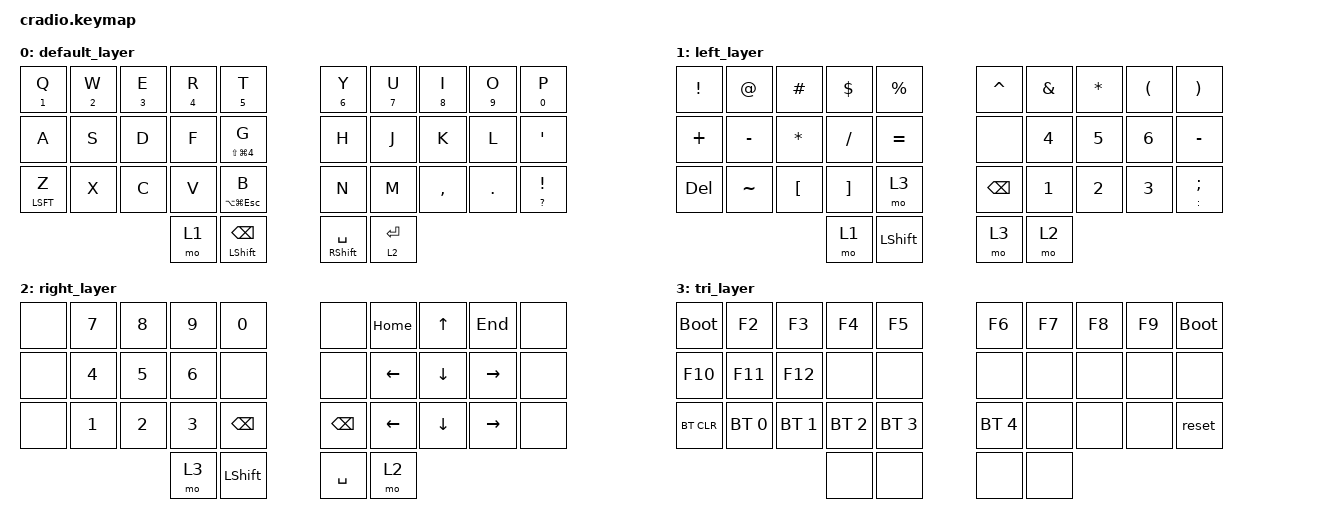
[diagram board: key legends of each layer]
/*
 * Copyright (c) 2020 The ZMK Contributors
 *
 * SPDX-License-Identifier: MIT
 */

#include <behaviors.dtsi>
#include <dt-bindings/zmk/keys.h>
#include <dt-bindings/zmk/bt.h>


&mt {
   flavor = "tap-preferred";
   tapping-term-ms = <500>;
};

/ { 

    combos {
        compatible = "zmk,combos";
        combo_esc {
            timeout-ms = <50>;
            key-positions = <0 1>;
            bindings = <&kp ESC>;
        };
	
	combo_left-option {
            timeout-ms = <50>;
            key-positions = <22 23>;
            bindings = <&kp LALT>;
        };
        
         combo_tab {
            timeout-ms = <50>;
            key-positions = <12 13>;
            bindings = <&kp TAB>;
        };
        
                    combo_left-control {
            timeout-ms = <50>;
            key-positions = <20 21>;
            bindings = <&kp LCTRL>;
        };
        
                           combo_layer3 {
            timeout-ms = <50>;
            key-positions = <3 4>;
            bindings = <&mo 3>;
        };
        
        
           	    combo_right-command {
            timeout-ms = <50>;
            key-positions = <16 17>;
            bindings = <&kp RCMD>;
        };
                       combo_layer3 {
            timeout-ms = <50>;
            key-positions = <5 15>;
            bindings = <&mo 3>;
        };   

        
    };
    
            ZMK_MACRO(scrnshot,
        wait-ms = <30>;
        tap-ms = <40>;
        bindings = <&kp LSHFT &kp LCMD &kp N4>;
    )

        keymap {
                compatible = "zmk,keymap";
                
       		default_layer {
		bindings = <
		&mt N1 Q &mt N2 W &mt N3 E &mt N4 R &mt N5 T 				&mt N6 Y &mt N7 U &mt N8 I &mt N9 O &mt N0 P 
		&kp A    &kp S    &kp D    &kp F    &mt LS(LG(N4)) G 			&kp H    &kp J    &kp K    &kp L    &kp APOS
		&mt LSFT Z &kp X  &kp C    &kp V    &mt LA(LG(ESC)) B		        &kp N    &kp M    &kp CMMA &kp DOT  &mt QMARK EXCL
          				&mo 1 &mt LSHFT BSPC 				&mt RSHFT SPC  &lt 2 RET
		>;
		};

       		left_layer {
		bindings = <
		&kp EXCL   &kp AT      &kp HASH     &kp DLLR   &kp PRCNT		&kp CARET  &kp AMPS  &kp ASTRK  &kp LPAR &kp RPAR 
		&kp PLUS   &kp MINUS   &kp ASTRK    &kp FSLH   &kp EQUAL 		&none      &kp N4    &kp N5     &kp N6   &kp MINUS 
		&kp DEL    &kp TILDE   &kp LBKT     &kp RBKT   &mo 3 	        &kp BSPC  &kp N1   &kp N2   &kp N3  &mt COLON SEMI 
					    &mo 1  &kp LSHFT  				   &mo 3 &mo 2 
		>;
		};
		
		right_layer {
		bindings = <&scrnshot>;
		bindings = <
		&none   &kp N7   &kp N8   &kp N9  &kp N0    			&none      &kp HOME  &kp UP    &kp END    &none
		&none   &kp N4   &kp N5   &kp N6     &none 			&none      &kp LEFT  &kp DOWN  &kp RIGHT  &none
		&none   &kp N1   &kp N2   &kp N3  &kp BSPC    		        &kp BSPC   &kp LEFT  &kp DOWN  &kp RIGHT  &none
					 &mo 3 &kp LSHFT  				   &kp SPC  &mo 2 
		>;
		};	
		
		tri_layer {
		bindings = <
		&bootloader  &kp F2        &kp F3        &kp F4       &kp F5 			&kp F6       &kp F7  &kp F8  &kp F9  &bootloader 
		&kp F10      &kp F11       &kp F12       &none        &none			&none        &none   &none   &none   &none
		&bt BT_CLR   &bt BT_SEL 0  &bt BT_SEL 1  &bt BT_SEL 2 &bt BT_SEL 3   		&bt BT_SEL 4  &none  &none   &none   &reset   
					                   &none   &none  		            &none &none 
		>;
		};	
        
	};
};
